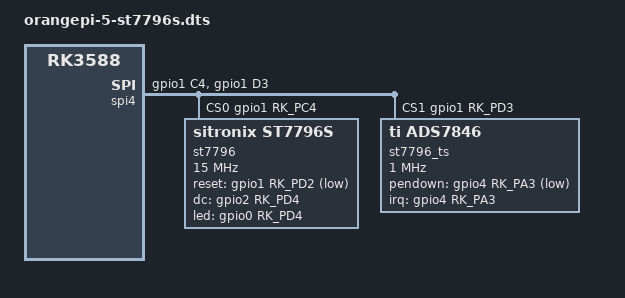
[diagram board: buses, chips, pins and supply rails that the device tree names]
/dts-v1/;
/plugin/;
#include <dt-bindings/gpio/gpio.h>
#include <dt-bindings/pinctrl/rockchip.h>
#include <dt-bindings/interrupt-controller/irq.h>
/ {
    compatible = "rockchip,rk3588s-orangepi-5", "rockchip,rk3588";

  fragment@0 {
    target = <&pinctrl>;

    __overlay__ {
      spi4 {
        st7796_cs: st7796_cs {
          rockchip,pins =
          <1 RK_PC4 RK_FUNC_GPIO &pcfg_pull_none>;
        };

        st7796_tscs: st7796_tscs {
          rockchip,pins =
          <1 RK_PD3 RK_FUNC_GPIO &pcfg_pull_none>;
        };

        st7796_pins: st7796_pins {
          rockchip,pins =
          <1 RK_PD2 RK_FUNC_GPIO &pcfg_output_low_pull_down>,
          <2 RK_PD4 RK_FUNC_GPIO &pcfg_pull_none>,
          <0 RK_PD4 RK_FUNC_GPIO &pcfg_output_low_pull_down>;
        };

        st7796_tsirq: st7796_tsirq {
          rockchip,pins =
          <4 RK_PA3 RK_FUNC_GPIO &pcfg_pull_none>;
        };
      };

      can2 {
        status = "disabled";
      };
    };
  };

  fragment@1 {
    target = <&spi4>;
    __overlay__ {
      status = "okay";

      spidev@0{
          status = "disabled";
      };
      spidev@1{
          status = "disabled";
      };
    };
  };

  fragment@2 {
    target = <&spi4>;
    __overlay__ {
      pinctrl-names = "default";
      pinctrl-0 = <&st7796_cs &st7796_tscs &spi4m0_pins>;
      num-cs = <2>;
      cs-gpios = <&gpio1 RK_PC4 0>, <&gpio1 RK_PD3 0>;
      status = "okay";
      #address-cells = <1>;
      #size-cells = <0>;
      spi-max-frequency = <40000000>;

      st7796: st7796s@0{
        compatible = "sitronix,st7796s";
        /*compatible = "";*/
        pinctrl-names = "default";
        pinctrl-0 = <&st7796_pins>;
        /* CS 0 */
        reg = <0>;
        spi-max-frequency = <15000000>;
        rotate = <270>;
        fps = <30>;
        buswidth = <8>;
        txbuflen = <32768>;
        reset-gpios = <&gpio1 RK_PD2 1>;
        dc-gpios = <&gpio2 RK_PD4 0>;
        led-gpios = <&gpio0 RK_PD4 0>;
        debug = <0>;
      };

      st7796_ts: st7796s@1 {
        compatible = "ti,ads7846";
        /* CS1 */
        reg = <1>;
        status = "okay";
        pinctrl-names = "default";
        pinctrl-0 = <&st7796_tsirq>;
        spi-max-frequency = <1000000>;
        interrupt-parent = <&gpio4>;
        interrupts = <RK_PA3 IRQ_TYPE_EDGE_FALLING>; /* GPIO0 D5 IRQ_TYPE_EDGE_FALLING */
        pendown-gpio = <&gpio4 RK_PA3 GPIO_ACTIVE_LOW>; /* GPIO0 D5 */
        ti,keep-vref-on = <1>;
        ti,x-min = /bits/ 16 <00>;
        ti,x-max = /bits/ 16 <0xFFF>;
        ti,y-min = /bits/ 16 <00>;
        ti,y-max = /bits/ 16 <0xFFF>;
        ti,x-plate-ohms = /bits/ 16 <60>;
        ti,pressure-max = /bits/ 16 <255>;
        ti,swap-xy = <0>;
      };

    };
  };
};
